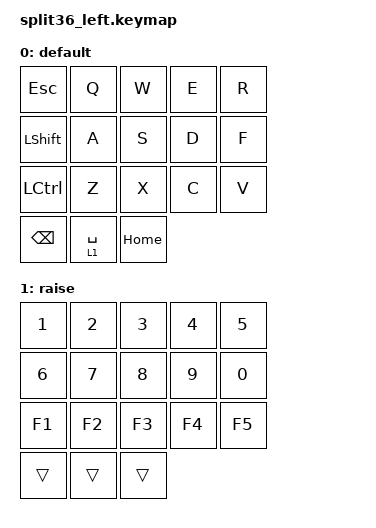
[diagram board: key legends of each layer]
/ {
  keymap {
    compatible = "zmk,keymap";
    
    default_layer_0 {
      bindings = <
        &kp ESC   &kp Q     &kp W     &kp E     &kp R
        &kp LSHFT &kp A     &kp S     &kp D     &kp F
        &kp LCTRL &kp Z     &kp X     &kp C     &kp V
        &kp BSPC  &lt 1 SPACE &kp HOME
      >;
      label = "default";
    };

    raise_layer_1 {
      bindings = <
        &kp N1    &kp N2    &kp N3    &kp N4    &kp N5
        &kp N6    &kp N7    &kp N8    &kp N9    &kp N0
        &kp F1    &kp F2    &kp F3    &kp F4    &kp F5
        &trans    &trans    &trans
      >;
      label = "raise";
    };
  };
};
